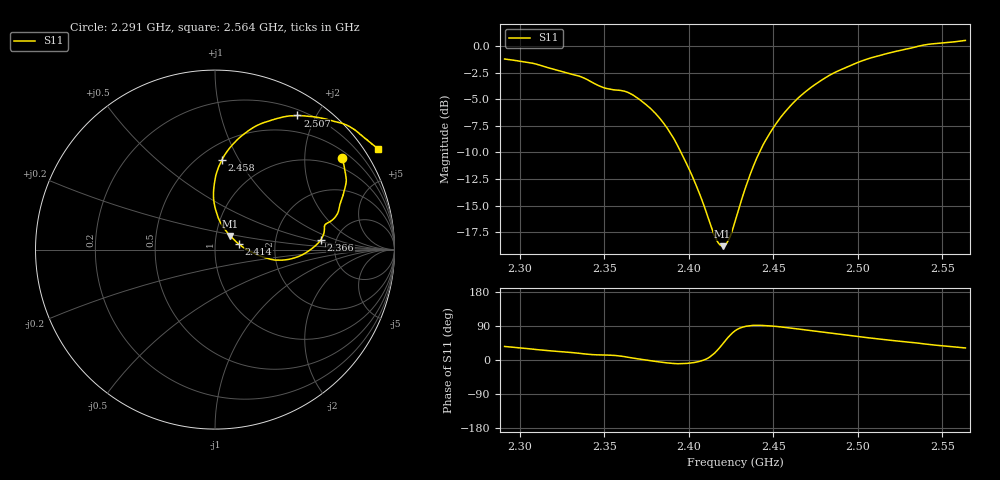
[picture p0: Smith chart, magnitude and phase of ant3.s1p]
!Agilent Technologies,N5230A,MY46400454,A.06.04.21
!Agilent N5230A: A.06.04.21
!Date: Sunday, October 28, 2018 12:14:51
!Correction: S11(Full 1 Port(1))
!S1P File: Measurement: S11:
# Hz S  dB  R 50
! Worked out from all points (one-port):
!   1601 points, 2.291 GHz to 2.564 GHz, reference 50 ohm
!   lowest |S11| = -18.8 dB at 2.42 GHz (marker M1), VSWR 1.26, Z = 58.5 + j9.09 ohm
!   |S11| at or under -10 dB: 2.395 GHz to 2.442 GHz (46.34 MHz wide, 1.92 % of centre)
!   S11 on the Smith chart (normalised r, x): 2.291 GHz: 0.70, +2.96; 2.366 GHz: 3.79, +0.65; 2.414 GHz: 1.30, +0.08; 2.458 GHz: 0.64, +0.85; 2.507 GHz: 0.27, +1.76; 2.564 GHz: -0.42, +3.47
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2.290884e9  -1.19 35.7
2.309297e9  -1.66 27.7
2.324982e9  -2.38 21.7
2.336406e9  -2.88 16.9
2.343055e9  -3.42 14.2
2.350898e9  -3.96 13.0
2.359081e9  -4.14 10.7
2.366413e9  -4.54 5.4
2.380905e9  -6.45 -4.1
2.387554e9  -7.80 -7.9
2.39318e9  -9.33 -9.9
2.404262e9  -13.09 -5.7
2.413981e9  -17.36 13.4
2.417049e9  -18.43 26.7
2.419948e9  -18.83 42.1
2.423358e9  -18.29 60.6
2.427279e9  -16.55 77.0
2.434269e9  -12.95 89.4
2.44143e9  -10.08 91.5
2.449102e9  -7.88 89.6
2.457798e9  -6.02 85.6
2.461378e9  -5.39 83.7
2.479621e9  -3.08 73.4
2.495477e9  -1.82 64.4
2.506559e9  -1.14 58.4
2.529576e9  -0.23 47.2
2.544238e9  0.24 40.0
2.563675e9  0.56 31.8
